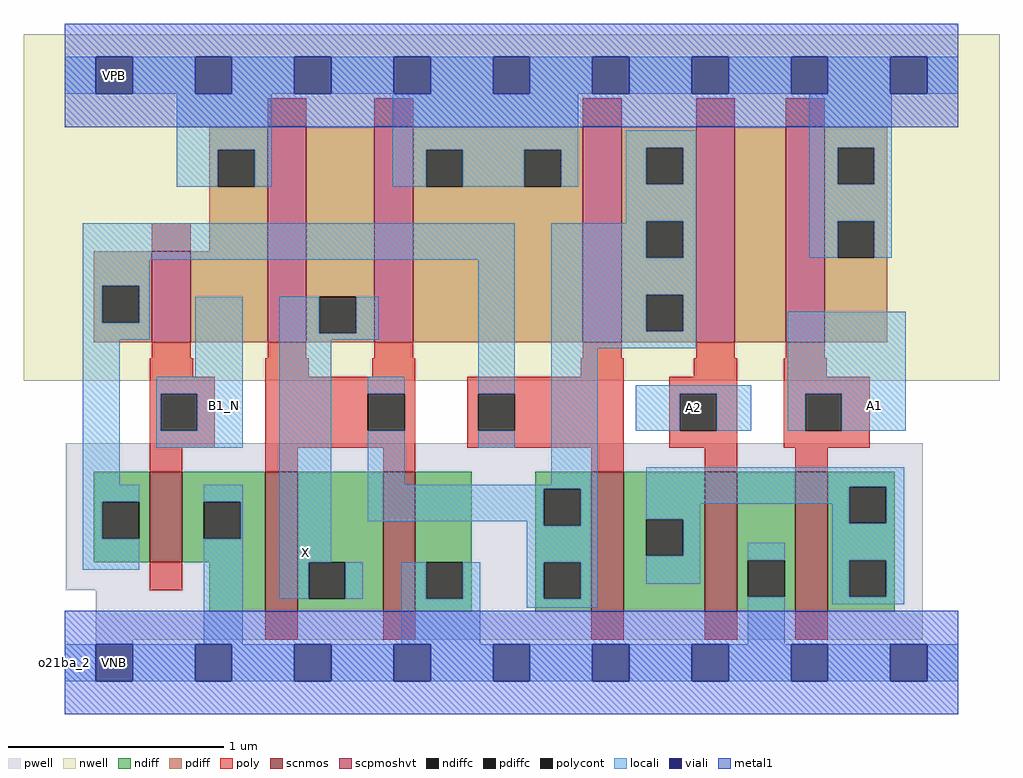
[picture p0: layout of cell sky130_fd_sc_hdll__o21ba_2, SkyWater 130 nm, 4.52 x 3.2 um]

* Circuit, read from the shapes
.subckt sky130_fd_sc_hdll__o21ba_2 A1 A2 B1_N VGND VNB VPB VPWR X
XM1 VGND B1_N n1 VNB sky130_fd_pr__nfet_01v8 w=0.42 l=0.15
XM2 X n2 VGND VNB sky130_fd_pr__nfet_01v8 w=0.65 l=0.15 m=2
XM3 n3 n1 n2 VNB sky130_fd_pr__nfet_01v8 w=0.65 l=0.15
XM4 VGND A2 n3 VNB sky130_fd_pr__nfet_01v8 w=0.65 l=0.15
XM5 n3 A1 VGND VNB sky130_fd_pr__nfet_01v8 w=0.65 l=0.15
XM6 VPWR B1_N n1 VPB sky130_fd_pr__pfet_01v8_hvt w=0.42 l=0.18
XM7 X n2 VPWR VPB sky130_fd_pr__pfet_01v8_hvt w=1 l=0.18 m=2
XM8 n2 n1 VPWR VPB sky130_fd_pr__pfet_01v8_hvt w=1 l=0.18
XM9 n4 A2 n2 VPB sky130_fd_pr__pfet_01v8_hvt w=1 l=0.18
XM10 VPWR A1 n4 VPB sky130_fd_pr__pfet_01v8_hvt w=1 l=0.18
.ends

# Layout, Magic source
magic
tech sky130A
magscale 1 2
<< nwell >>
rect -38 261 866 582
<< pwell >>
rect 1 67 795 203
rect 29 21 795 67
rect 29 -17 63 21
<< scnmos >>
rect 79 93 109 177
rect 186 47 216 177
rect 295 47 325 177
rect 488 47 518 177
rect 593 47 623 177
rect 677 47 707 177
<< scpmoshvt >>
rect 81 297 117 381
rect 188 297 224 497
rect 287 297 323 497
rect 480 297 516 497
rect 585 297 621 497
rect 668 297 704 497
<< ndiff >>
rect 27 149 79 177
rect 27 115 35 149
rect 69 115 79 149
rect 27 93 79 115
rect 109 149 186 177
rect 109 115 129 149
rect 163 115 186 149
rect 109 93 186 115
rect 134 47 186 93
rect 216 93 295 177
rect 216 59 226 93
rect 260 59 295 93
rect 216 47 295 59
rect 325 93 377 177
rect 325 59 335 93
rect 369 59 377 93
rect 325 47 377 59
rect 436 161 488 177
rect 436 127 444 161
rect 478 127 488 161
rect 436 93 488 127
rect 436 59 444 93
rect 478 59 488 93
rect 436 47 488 59
rect 518 133 593 177
rect 518 99 539 133
rect 573 99 593 133
rect 518 47 593 99
rect 623 95 677 177
rect 623 61 633 95
rect 667 61 677 95
rect 623 47 677 61
rect 707 163 769 177
rect 707 129 727 163
rect 761 129 769 163
rect 707 95 769 129
rect 707 61 727 95
rect 761 61 769 95
rect 707 47 769 61
<< pdiff >>
rect 134 475 188 497
rect 134 441 142 475
rect 176 441 188 475
rect 134 381 188 441
rect 27 349 81 381
rect 27 315 35 349
rect 69 315 81 349
rect 27 297 81 315
rect 117 297 188 381
rect 224 339 287 497
rect 224 305 236 339
rect 270 305 287 339
rect 224 297 287 305
rect 323 475 480 497
rect 323 441 335 475
rect 369 441 426 475
rect 460 441 480 475
rect 323 297 480 441
rect 516 477 585 497
rect 516 443 539 477
rect 573 443 585 477
rect 516 409 585 443
rect 516 375 539 409
rect 573 375 585 409
rect 516 341 585 375
rect 516 307 539 341
rect 573 307 585 341
rect 516 297 585 307
rect 621 297 668 497
rect 704 477 762 497
rect 704 443 716 477
rect 750 443 762 477
rect 704 409 762 443
rect 704 375 716 409
rect 750 375 762 409
rect 704 297 762 375
<< ndiffc >>
rect 35 115 69 149
rect 129 115 163 149
rect 226 59 260 93
rect 335 59 369 93
rect 444 127 478 161
rect 444 59 478 93
rect 539 99 573 133
rect 633 61 667 95
rect 727 129 761 163
rect 727 61 761 95
<< pdiffc >>
rect 142 441 176 475
rect 35 315 69 349
rect 236 305 270 339
rect 335 441 369 475
rect 426 441 460 475
rect 539 443 573 477
rect 539 375 573 409
rect 539 307 573 341
rect 716 443 750 477
rect 716 375 750 409
<< poly >>
rect 188 497 224 523
rect 287 497 323 523
rect 480 497 516 523
rect 585 497 621 523
rect 668 497 704 523
rect 81 381 117 407
rect 81 282 117 297
rect 188 282 224 297
rect 287 282 323 297
rect 480 282 516 297
rect 585 282 621 297
rect 668 282 704 297
rect 79 265 119 282
rect 186 265 226 282
rect 285 265 325 282
rect 478 265 518 282
rect 583 265 623 282
rect 79 249 139 265
rect 79 215 89 249
rect 123 215 139 249
rect 79 199 139 215
rect 186 249 325 265
rect 186 215 281 249
rect 315 215 325 249
rect 186 199 325 215
rect 373 249 518 265
rect 373 215 383 249
rect 417 215 518 249
rect 373 199 518 215
rect 560 249 623 265
rect 560 215 570 249
rect 604 215 623 249
rect 560 199 623 215
rect 666 265 706 282
rect 666 249 746 265
rect 666 215 686 249
rect 720 215 746 249
rect 666 199 746 215
rect 79 177 109 199
rect 186 177 216 199
rect 295 177 325 199
rect 488 177 518 199
rect 593 177 623 199
rect 677 177 707 199
rect 79 67 109 93
rect 186 21 216 47
rect 295 21 325 47
rect 488 21 518 47
rect 593 21 623 47
rect 677 21 707 47
<< polycont >>
rect 89 215 123 249
rect 281 215 315 249
rect 383 215 417 249
rect 570 215 604 249
rect 686 215 720 249
<< locali >>
rect 0 527 29 561
rect 63 527 121 561
rect 155 527 213 561
rect 247 527 305 561
rect 339 527 397 561
rect 431 527 489 561
rect 523 527 581 561
rect 615 527 673 561
rect 707 527 765 561
rect 799 527 828 561
rect 104 475 192 527
rect 104 441 142 475
rect 176 441 192 475
rect 304 475 476 527
rect 304 441 335 475
rect 369 441 426 475
rect 460 441 476 475
rect 520 477 585 493
rect 520 443 539 477
rect 573 443 585 477
rect 520 409 585 443
rect 520 407 539 409
rect 17 373 417 407
rect 17 349 79 373
rect 17 315 35 349
rect 69 315 79 349
rect 17 299 79 315
rect 17 165 51 299
rect 121 265 165 339
rect 85 249 165 265
rect 85 215 89 249
rect 123 215 165 249
rect 85 199 165 215
rect 199 305 236 339
rect 270 305 291 339
rect 199 299 291 305
rect 17 149 69 165
rect 17 115 35 149
rect 17 86 69 115
rect 129 149 165 165
rect 163 115 165 149
rect 129 17 165 115
rect 199 93 247 299
rect 281 249 315 265
rect 281 165 315 215
rect 383 249 417 373
rect 383 199 417 215
rect 451 375 539 407
rect 573 375 585 409
rect 690 477 766 527
rect 690 443 716 477
rect 750 443 766 477
rect 690 409 766 443
rect 690 375 716 409
rect 750 375 766 409
rect 451 341 585 375
rect 451 307 539 341
rect 573 307 585 341
rect 451 291 585 307
rect 451 165 494 291
rect 529 249 636 257
rect 529 215 570 249
rect 604 215 636 249
rect 670 249 779 325
rect 670 215 686 249
rect 720 215 779 249
rect 281 161 494 165
rect 281 131 444 161
rect 428 127 444 131
rect 478 127 494 161
rect 428 93 494 127
rect 199 59 226 93
rect 260 59 276 93
rect 312 59 335 93
rect 369 59 385 93
rect 312 17 385 59
rect 428 59 444 93
rect 478 59 494 93
rect 539 163 778 181
rect 539 147 727 163
rect 539 133 589 147
rect 573 99 589 133
rect 711 129 727 147
rect 761 129 778 163
rect 539 73 589 99
rect 633 95 667 111
rect 428 51 494 59
rect 633 17 667 61
rect 711 95 778 129
rect 711 61 727 95
rect 761 61 778 95
rect 711 54 778 61
rect 0 -17 29 17
rect 63 -17 121 17
rect 155 -17 213 17
rect 247 -17 305 17
rect 339 -17 397 17
rect 431 -17 489 17
rect 523 -17 581 17
rect 615 -17 673 17
rect 707 -17 765 17
rect 799 -17 828 17
<< viali >>
rect 29 527 63 561
rect 121 527 155 561
rect 213 527 247 561
rect 305 527 339 561
rect 397 527 431 561
rect 489 527 523 561
rect 581 527 615 561
rect 673 527 707 561
rect 765 527 799 561
rect 29 -17 63 17
rect 121 -17 155 17
rect 213 -17 247 17
rect 305 -17 339 17
rect 397 -17 431 17
rect 489 -17 523 17
rect 581 -17 615 17
rect 673 -17 707 17
rect 765 -17 799 17
<< metal1 >>
rect 0 561 828 592
rect 0 527 29 561
rect 63 527 121 561
rect 155 527 213 561
rect 247 527 305 561
rect 339 527 397 561
rect 431 527 489 561
rect 523 527 581 561
rect 615 527 673 561
rect 707 527 765 561
rect 799 527 828 561
rect 0 496 828 527
rect 0 17 828 48
rect 0 -17 29 17
rect 63 -17 121 17
rect 155 -17 213 17
rect 247 -17 305 17
rect 339 -17 397 17
rect 431 -17 489 17
rect 523 -17 581 17
rect 615 -17 673 17
rect 707 -17 765 17
rect 799 -17 828 17
rect 0 -48 828 -17
<< labels >>
flabel locali s 131 221 165 255 0 FreeSans 400 180 0 0 B1_N
port 3 nsew signal input
flabel locali s 733 221 767 255 0 FreeSans 400 0 0 0 A1
port 1 nsew signal input
flabel locali s 206 85 240 119 0 FreeSans 400 180 0 0 X
port 8 nsew signal output
flabel locali s 529 215 636 257 0 FreeSans 400 0 0 0 A2
port 2 nsew signal input
flabel pwell s 29 -17 63 17 0 FreeSans 200 0 0 0 VNB
port 5 nsew ground bidirectional
flabel nwell s 29 527 63 561 0 FreeSans 200 0 0 0 VPB
port 6 nsew power bidirectional
flabel metal1 s 29 -17 63 17 0 FreeSans 200 0 0 0 VGND
port 4 nsew ground bidirectional
flabel metal1 s 29 527 63 561 0 FreeSans 200 0 0 0 VPWR
port 7 nsew power bidirectional
rlabel comment s 0 0 0 0 4 o21ba_2
<< properties >>
string LEFsite unithd
string LEFclass CORE
string FIXED_BBOX 0 0 828 544
string GDS_FILE $PDKPATH/libs.ref/sky130_fd_sc_hdll/gds/sky130_fd_sc_hdll.gds
string LEFsymmetry X Y R90
string GDS_END 2442826
string GDS_START 2436314
string LEFproperties maskLayoutSubType "abstract" prCellType "standard" originalViewName "layout"
<< end >>
